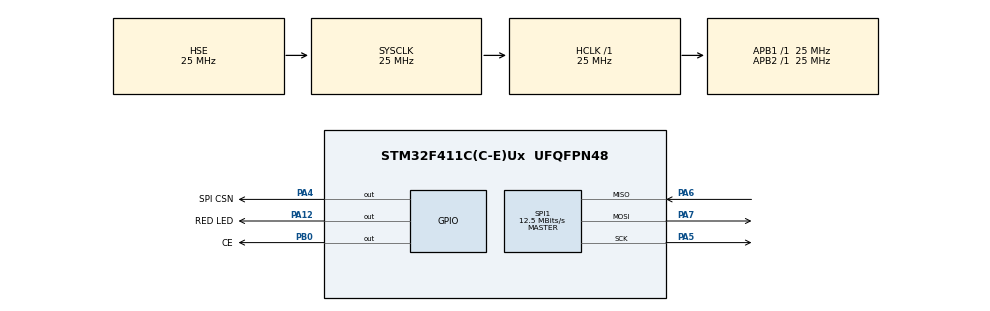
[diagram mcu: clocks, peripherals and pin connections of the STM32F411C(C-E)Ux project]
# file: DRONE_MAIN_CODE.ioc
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Mcu.Family=STM32F4
Mcu.Name=STM32F411C(C-E)Ux
Mcu.Package=UFQFPN48
NVIC.PriorityGroup=NVIC_PRIORITYGROUP_4
NVIC.TIM5_IRQn=true\:0\:0\:false\:false\:true\:true\:true\:true
PA12.GPIO_Label=RED LED
PA12.PinState=GPIO_PIN_RESET
PA12.Signal=GPIO_Output
PA13.Mode=Serial_Wire
PA13.Signal=SYS_JTMS-SWDIO
PA14.Mode=Serial_Wire
PA14.Signal=SYS_JTCK-SWCLK
PA4.GPIO_Label=SPI CSN
PA4.PinState=GPIO_PIN_SET
PA4.Signal=GPIO_Output
PA5.Mode=Full_Duplex_Master
PA5.Signal=SPI1_SCK
PA6.Mode=Full_Duplex_Master
PA6.Signal=SPI1_MISO
PA7.Mode=Full_Duplex_Master
PA7.Signal=SPI1_MOSI
PB0.GPIO_Label=CE
PB0.Signal=GPIO_Output
PH0\ -\ OSC_IN.Mode=HSE-External-Oscillator
PH0\ -\ OSC_IN.Signal=RCC_OSC_IN
PH1\ -\ OSC_OUT.Mode=HSE-External-Oscillator
PH1\ -\ OSC_OUT.Signal=RCC_OSC_OUT
ProjectManager.HeapSize=0x200
ProjectManager.StackSize=0x400
ProjectManager.TargetToolchain=STM32CubeIDE
RCC.48MHZClocksFreq_Value=48000000
RCC.AHBFreq_Value=25000000
RCC.APB1Freq_Value=25000000
RCC.APB1TimFreq_Value=25000000
RCC.APB2Freq_Value=25000000
RCC.APB2TimFreq_Value=25000000
RCC.CortexFreq_Value=25000000
RCC.HCLKFreq_Value=25000000
RCC.HSE_VALUE=25000000
RCC.HSI_VALUE=16000000
RCC.LSE_VALUE=32768
RCC.RCC_RTC_Clock_Source_FROM_HSE=RCC_RTCCLKSOURCE_HSE_DIV8
RCC.SYSCLKFreq_VALUE=25000000
RCC.SYSCLKSource=RCC_SYSCLKSOURCE_HSE
RCC.VCOOutputFreq_Value=192000000
SPI1.CLKPhase=SPI_PHASE_1EDGE
SPI1.CalculateBaudRate=12.5 MBits/s
SPI1.Direction=SPI_DIRECTION_2LINES
SPI1.Mode=SPI_MODE_MASTER
SPI1.VirtualType=VM_MASTER
TIM5.AutoReloadPreload=TIM_AUTORELOAD_PRELOAD_ENABLE
TIM5.Period=100
TIM5.Prescaler=249
VP_TIM1_VS_ClockSourceINT.Mode=Internal
VP_TIM2_VS_ClockSourceINT.Mode=Internal
VP_TIM4_VS_ClockSourceINT.Mode=Internal
VP_TIM5_VS_ClockSourceINT.Mode=Internal
board=custom

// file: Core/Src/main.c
/* USER CODE BEGIN Header */
/**
  ******************************************************************************
  * @file           : main.c
  * @brief          : Main program body
  ******************************************************************************
  * @attention
  *
  * Copyright (c) 2025 STMicroelectronics.
  * All rights reserved.
  *
  * This software is licensed under terms that can be found in the LICENSE file
  * in the root directory of this software component.
  * If no LICENSE file comes with this software, it is provided AS-IS.
  *
  ******************************************************************************
  */
/* USER CODE END Header */
#include "main.h"

/* USER CODE BEGIN Includes */
#include "nrf24.h"
#include "NRF24_DRIVERS.h"
#include <string.h>
#include <stdio.h>
#include <stdbool.h>
#include <stdlib.h>
/* USER CODE END Includes */

SPI_HandleTypeDef hspi1;

TIM_HandleTypeDef htim1;
TIM_HandleTypeDef htim2;
TIM_HandleTypeDef htim4;
TIM_HandleTypeDef htim5;

void SystemClock_Config(void);
static void MX_GPIO_Init(void);
static void MX_SPI1_Init(void);
static void MX_TIM2_Init(void);
static void MX_TIM1_Init(void);
static void MX_TIM5_Init(void);
static void MX_TIM4_Init(void);
/* USER CODE BEGIN PFP */
void Sync_receiver_mode(void);
void Sync_with_Ground_station();

/* USER CODE END PFP */

/* USER CODE BEGIN 0 */
volatile uint32_t count = 0;
bool isSynchronized = false;
/* USER CODE END 0 */

int main(void)
{

  /* MCU Configuration--------------------------------------------------------*/

  /* Reset of all peripherals, Initializes the Flash interface and the Systick. */
  HAL_Init();

  /* Configure the system clock */
  SystemClock_Config();

  /* Initialize all configured peripherals */
  MX_GPIO_Init();
  MX_SPI1_Init();
  MX_TIM2_Init();
  MX_TIM1_Init();
  MX_TIM5_Init();
  MX_TIM4_Init();
  /* USER CODE BEGIN 2 */

  HAL_TIM_Base_Start_IT(&htim5); // start timer 5

  uint8_t addr[5] = {'D', 'R', 'O', 'N', 'E'};
  nRF24_set_up(5, 78, nRF24_DR_1Mbps, nRF24_TXPWR_0dBm, nRF24_CRC_2byte, nRF24_ARD_250us , 1 , nRF24_PIPE0, addr,nRF24_AA_ON  , 4);

  uint8_t received_SPI_data[13]= {0x00,0x00,0x00,0x00,0x00,0x00,0x00,0x00,0x00,0x00,0x00,0x00};

   //uint8_t test_data[]= "hi this is drone";
   nRF24_ClearIRQFlags(); // Properly clear interrupts

  // uint8_t time_buffer[10];
  // uint8_t time_length = 10;

   uint8_t buffer_rec[4];
   uint8_t length = 4;
   uint8_t send_buffer[4]= {0b1100100,0b1100100,0b1100100,0b0};
   uint8_t rx_tx_flag=0b0;

  /* USER CODE END 2 */

  /* Infinite loop */
  /* USER CODE BEGIN WHILE */
  // nRF24_Switch_to_RX_mode();
   nRF24_Switch_to_TX_mode();
    uint16_t number=0;
  while (1)
  {

	  	nRF24_Switch_to_RX_mode();
  	    RECEIVED_DATA(buffer_rec, length);
  	    nRF24_FlushRX();
  	    number=number+buffer_rec[0]+buffer_rec[1];
	    HAL_GPIO_TogglePin(RED_LED_GPIO_Port, RED_LED_Pin);

	    rx_tx_flag=buffer_rec[3];

	  	if(rx_tx_flag==0b1){
	  		uint32_t mode=count;
			nRF24_Switch_to_TX_mode();
	  		while(count-mode<41){
	  				nRF24_start_sending(&count,length);}
	    }

    /* USER CODE END WHILE */

  }
}

void SystemClock_Config(void)
{
  RCC_OscInitTypeDef RCC_OscInitStruct = {0};
  RCC_ClkInitTypeDef RCC_ClkInitStruct = {0};

  /** Configure the main internal regulator output voltage
  */
  __HAL_RCC_PWR_CLK_ENABLE();
  __HAL_PWR_VOLTAGESCALING_CONFIG(PWR_REGULATOR_VOLTAGE_SCALE1);

  /** Initializes the RCC Oscillators according to the specified parameters
  * in the RCC_OscInitTypeDef structure.
  */
  RCC_OscInitStruct.OscillatorType = RCC_OSCILLATORTYPE_HSE;
  RCC_OscInitStruct.HSEState = RCC_HSE_ON;
  RCC_OscInitStruct.PLL.PLLState = RCC_PLL_NONE;
  if (HAL_RCC_OscConfig(&RCC_OscInitStruct) != HAL_OK)
  {
    Error_Handler();
  }

  /** Initializes the CPU, AHB and APB buses clocks
  */
  RCC_ClkInitStruct.ClockType = RCC_CLOCKTYPE_HCLK|RCC_CLOCKTYPE_SYSCLK
                              |RCC_CLOCKTYPE_PCLK1|RCC_CLOCKTYPE_PCLK2;
  RCC_ClkInitStruct.SYSCLKSource = RCC_SYSCLKSOURCE_HSE;
  RCC_ClkInitStruct.AHBCLKDivider = RCC_SYSCLK_DIV1;
  RCC_ClkInitStruct.APB1CLKDivider = RCC_HCLK_DIV1;
  RCC_ClkInitStruct.APB2CLKDivider = RCC_HCLK_DIV1;

  if (HAL_RCC_ClockConfig(&RCC_ClkInitStruct, FLASH_LATENCY_0) != HAL_OK)
  {
    Error_Handler();
  }
}

static void MX_SPI1_Init(void)
{

  /* SPI1 parameter configuration*/
  hspi1.Instance = SPI1;
  hspi1.Init.Mode = SPI_MODE_MASTER;
  hspi1.Init.Direction = SPI_DIRECTION_2LINES;
  hspi1.Init.DataSize = SPI_DATASIZE_8BIT;
  hspi1.Init.CLKPolarity = SPI_POLARITY_LOW;
  hspi1.Init.CLKPhase = SPI_PHASE_1EDGE;
  hspi1.Init.NSS = SPI_NSS_SOFT;
  hspi1.Init.BaudRatePrescaler = SPI_BAUDRATEPRESCALER_2;
  hspi1.Init.FirstBit = SPI_FIRSTBIT_MSB;
  hspi1.Init.TIMode = SPI_TIMODE_DISABLE;
  hspi1.Init.CRCCalculation = SPI_CRCCALCULATION_DISABLE;
  hspi1.Init.CRCPolynomial = 10;
  if (HAL_SPI_Init(&hspi1) != HAL_OK)
  {
    Error_Handler();
  }

}

static void MX_TIM1_Init(void)
{

  TIM_ClockConfigTypeDef sClockSourceConfig = {0};
  TIM_MasterConfigTypeDef sMasterConfig = {0};

  htim1.Instance = TIM1;
  htim1.Init.Prescaler = 0;
  htim1.Init.CounterMode = TIM_COUNTERMODE_UP;
  htim1.Init.Period = 65535;
  htim1.Init.ClockDivision = TIM_CLOCKDIVISION_DIV1;
  htim1.Init.RepetitionCounter = 0;
  htim1.Init.AutoReloadPreload = TIM_AUTORELOAD_PRELOAD_DISABLE;
  if (HAL_TIM_Base_Init(&htim1) != HAL_OK)
  {
    Error_Handler();
  }
  sClockSourceConfig.ClockSource = TIM_CLOCKSOURCE_INTERNAL;
  if (HAL_TIM_ConfigClockSource(&htim1, &sClockSourceConfig) != HAL_OK)
  {
    Error_Handler();
  }
  sMasterConfig.MasterOutputTrigger = TIM_TRGO_RESET;
  sMasterConfig.MasterSlaveMode = TIM_MASTERSLAVEMODE_DISABLE;
  if (HAL_TIMEx_MasterConfigSynchronization(&htim1, &sMasterConfig) != HAL_OK)
  {
    Error_Handler();
  }

}

static void MX_TIM2_Init(void)
{

  TIM_ClockConfigTypeDef sClockSourceConfig = {0};
  TIM_MasterConfigTypeDef sMasterConfig = {0};

  htim2.Instance = TIM2;
  htim2.Init.Prescaler = 0;
  htim2.Init.CounterMode = TIM_COUNTERMODE_UP;
  htim2.Init.Period = 4294967295;
  htim2.Init.ClockDivision = TIM_CLOCKDIVISION_DIV1;
  htim2.Init.AutoReloadPreload = TIM_AUTORELOAD_PRELOAD_DISABLE;
  if (HAL_TIM_Base_Init(&htim2) != HAL_OK)
  {
    Error_Handler();
  }
  sClockSourceConfig.ClockSource = TIM_CLOCKSOURCE_INTERNAL;
  if (HAL_TIM_ConfigClockSource(&htim2, &sClockSourceConfig) != HAL_OK)
  {
    Error_Handler();
  }
  sMasterConfig.MasterOutputTrigger = TIM_TRGO_RESET;
  sMasterConfig.MasterSlaveMode = TIM_MASTERSLAVEMODE_DISABLE;
  if (HAL_TIMEx_MasterConfigSynchronization(&htim2, &sMasterConfig) != HAL_OK)
  {
    Error_Handler();
  }

}

static void MX_TIM4_Init(void)
{

  TIM_ClockConfigTypeDef sClockSourceConfig = {0};
  TIM_MasterConfigTypeDef sMasterConfig = {0};

  htim4.Instance = TIM4;
  htim4.Init.Prescaler = 0;
  htim4.Init.CounterMode = TIM_COUNTERMODE_UP;
  htim4.Init.Period = 65535;
  htim4.Init.ClockDivision = TIM_CLOCKDIVISION_DIV1;
  htim4.Init.AutoReloadPreload = TIM_AUTORELOAD_PRELOAD_DISABLE;
  if (HAL_TIM_Base_Init(&htim4) != HAL_OK)
  {
    Error_Handler();
  }
  sClockSourceConfig.ClockSource = TIM_CLOCKSOURCE_INTERNAL;
  if (HAL_TIM_ConfigClockSource(&htim4, &sClockSourceConfig) != HAL_OK)
  {
    Error_Handler();
  }
  sMasterConfig.MasterOutputTrigger = TIM_TRGO_RESET;
  sMasterConfig.MasterSlaveMode = TIM_MASTERSLAVEMODE_DISABLE;
  if (HAL_TIMEx_MasterConfigSynchronization(&htim4, &sMasterConfig) != HAL_OK)
  {
    Error_Handler();
  }

}

static void MX_TIM5_Init(void)
{

  TIM_ClockConfigTypeDef sClockSourceConfig = {0};
  TIM_MasterConfigTypeDef sMasterConfig = {0};

  htim5.Instance = TIM5;
  htim5.Init.Prescaler = 249;
  htim5.Init.CounterMode = TIM_COUNTERMODE_UP;
  htim5.Init.Period = 99;
  htim5.Init.ClockDivision = TIM_CLOCKDIVISION_DIV1;
  htim5.Init.AutoReloadPreload = TIM_AUTORELOAD_PRELOAD_ENABLE;
  if (HAL_TIM_Base_Init(&htim5) != HAL_OK)
  {
    Error_Handler();
  }
  sClockSourceConfig.ClockSource = TIM_CLOCKSOURCE_INTERNAL;
  if (HAL_TIM_ConfigClockSource(&htim5, &sClockSourceConfig) != HAL_OK)
  {
    Error_Handler();
  }
  sMasterConfig.MasterOutputTrigger = TIM_TRGO_RESET;
  sMasterConfig.MasterSlaveMode = TIM_MASTERSLAVEMODE_DISABLE;
  if (HAL_TIMEx_MasterConfigSynchronization(&htim5, &sMasterConfig) != HAL_OK)
  {
    Error_Handler();
  }
  /* USER CODE BEGIN TIM5_Init 2 */
  HAL_NVIC_SetPriority(TIM5_IRQn, 0, 0);
  HAL_NVIC_EnableIRQ(TIM5_IRQn);
  /* USER CODE END TIM5_Init 2 */

}

static void MX_GPIO_Init(void)
{
  GPIO_InitTypeDef GPIO_InitStruct = {0};

  /* GPIO Ports Clock Enable */
  __HAL_RCC_GPIOH_CLK_ENABLE();
  __HAL_RCC_GPIOA_CLK_ENABLE();
  __HAL_RCC_GPIOB_CLK_ENABLE();

  /*Configure GPIO pin Output Level */
  HAL_GPIO_WritePin(SPI_CSN_GPIO_Port, SPI_CSN_Pin, GPIO_PIN_SET);

  /*Configure GPIO pin Output Level */
  HAL_GPIO_WritePin(CE_GPIO_Port, CE_Pin, GPIO_PIN_RESET);

  /*Configure GPIO pin Output Level */
  HAL_GPIO_WritePin(RED_LED_GPIO_Port, RED_LED_Pin, GPIO_PIN_RESET);

  /*Configure GPIO pins : SPI_CSN_Pin RED_LED_Pin */
  GPIO_InitStruct.Pin = SPI_CSN_Pin|RED_LED_Pin;
  GPIO_InitStruct.Mode = GPIO_MODE_OUTPUT_PP;
  GPIO_InitStruct.Pull = GPIO_NOPULL;
  GPIO_InitStruct.Speed = GPIO_SPEED_FREQ_LOW;
  HAL_GPIO_Init(GPIOA, &GPIO_InitStruct);

  /*Configure GPIO pin : CE_Pin */
  GPIO_InitStruct.Pin = CE_Pin;
  GPIO_InitStruct.Mode = GPIO_MODE_OUTPUT_PP;
  GPIO_InitStruct.Pull = GPIO_NOPULL;
  GPIO_InitStruct.Speed = GPIO_SPEED_FREQ_LOW;
  HAL_GPIO_Init(CE_GPIO_Port, &GPIO_InitStruct);

}

/* USER CODE BEGIN 4 */

uint32_t last_check = 0;
void HAL_TIM_PeriodElapsedCallback(TIM_HandleTypeDef *htim){

	if (htim->Instance == TIM5){
		count ++;
		/*if(count-last_check>=1000){
			count-=3;
			last_check=count;
		}*/
}}

/* USER CODE END 4 */

void Error_Handler(void)
{
  __disable_irq();
  while (1)
  {
  }
}
